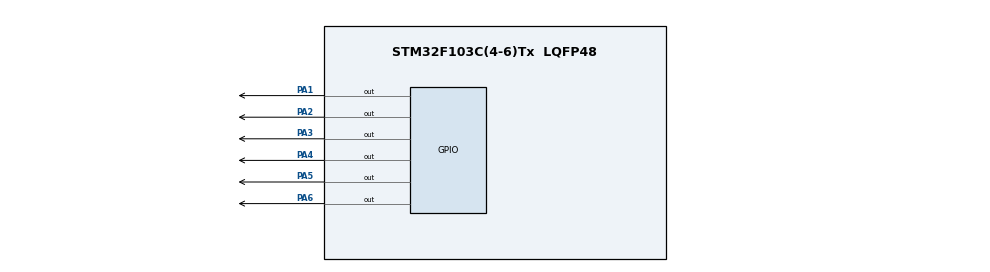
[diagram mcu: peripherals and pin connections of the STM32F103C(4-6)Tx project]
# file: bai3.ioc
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Mcu.Family=STM32F1
Mcu.Name=STM32F103C(4-6)Tx
Mcu.Package=LQFP48
NVIC.PriorityGroup=NVIC_PRIORITYGROUP_4
PA1.Signal=GPIO_Output
PA2.Signal=GPIO_Output
PA3.Signal=GPIO_Output
PA4.Signal=GPIO_Output
PA5.Signal=GPIO_Output
PA6.Signal=GPIO_Output
ProjectManager.HeapSize=0x200
ProjectManager.StackSize=0x400
ProjectManager.TargetToolchain=STM32CubeIDE
RCC.APB1Freq_Value=8000000
RCC.APB2Freq_Value=8000000
board=custom

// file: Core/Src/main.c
/* USER CODE BEGIN Header */
/**
  ******************************************************************************
  * @file           : main.c
  * @brief          : Main program body
  ******************************************************************************
  * @attention
  *
  * Copyright (c) 2022 STMicroelectronics.
  * All rights reserved.
  *
  * This software is licensed under terms that can be found in the LICENSE file
  * in the root directory of this software component.
  * If no LICENSE file comes with this software, it is provided AS-IS.
  *
  ******************************************************************************
  */
/* USER CODE END Header */
#include "main.h"

void SystemClock_Config(void);
static void MX_GPIO_Init(void);

int main(void)
{

  /* MCU Configuration--------------------------------------------------------*/

  /* Reset of all peripherals, Initializes the Flash interface and the Systick. */
  HAL_Init();

  /* Configure the system clock */
  SystemClock_Config();

  /* Initialize all configured peripherals */
  MX_GPIO_Init();

  /* Infinite loop */
  /* USER CODE BEGIN WHILE */
  int counter = 10;
  int reset_counter = 10;
  int flag1, flag2; // red = 0 yellow = 1 green = 2
  while (1)
  {
	  if (counter <= 0) {
		  counter = reset_counter;
	  }
	  if (counter > 5) {
		  flag1 = 0;
	  } else if (counter > 3) {
		  flag1 = 1;
	  } else {
		  flag1 = 2;
	  }
	  if (counter > 7) {
		  flag2 = 2;
	  } else if (counter > 5) {
		  flag2 = 1;
	  } else {
		  flag2 = 0;
	  }
	  if (flag1 == 0) {
		  HAL_GPIO_WritePin(GPIOA, GPIO_PIN_1, SET);
		  HAL_GPIO_WritePin(GPIOA, GPIO_PIN_2, RESET);
		  HAL_GPIO_WritePin(GPIOA, GPIO_PIN_3, RESET);
	  } else if (flag1 == 1) {
		  HAL_GPIO_WritePin(GPIOA, GPIO_PIN_1, RESET);
		  HAL_GPIO_WritePin(GPIOA, GPIO_PIN_2, SET);
		  HAL_GPIO_WritePin(GPIOA, GPIO_PIN_3, RESET);
	  } else if (flag1 == 2) {
		  HAL_GPIO_WritePin(GPIOA, GPIO_PIN_1, RESET);
		  HAL_GPIO_WritePin(GPIOA, GPIO_PIN_2, RESET);
		  HAL_GPIO_WritePin(GPIOA, GPIO_PIN_3, SET);
	  }
	  if (flag2 == 0) {
		  HAL_GPIO_WritePin(GPIOA, GPIO_PIN_4, SET);
		  HAL_GPIO_WritePin(GPIOA, GPIO_PIN_5, RESET);
		  HAL_GPIO_WritePin(GPIOA, GPIO_PIN_6, RESET);
	  } else if (flag2 == 1) {
		  HAL_GPIO_WritePin(GPIOA, GPIO_PIN_4, RESET);
		  HAL_GPIO_WritePin(GPIOA, GPIO_PIN_5, SET);
		  HAL_GPIO_WritePin(GPIOA, GPIO_PIN_6, RESET);
	  } else if (flag2 == 2) {
		  HAL_GPIO_WritePin(GPIOA, GPIO_PIN_4, RESET);
		  HAL_GPIO_WritePin(GPIOA, GPIO_PIN_5, RESET);
		  HAL_GPIO_WritePin(GPIOA, GPIO_PIN_6, SET);
	  }
	  counter--;
	  HAL_Delay(1000);
    /* USER CODE END WHILE */

  }
}

void SystemClock_Config(void)
{
  RCC_OscInitTypeDef RCC_OscInitStruct = {0};
  RCC_ClkInitTypeDef RCC_ClkInitStruct = {0};

  /** Initializes the RCC Oscillators according to the specified parameters
  * in the RCC_OscInitTypeDef structure.
  */
  RCC_OscInitStruct.OscillatorType = RCC_OSCILLATORTYPE_HSI;
  RCC_OscInitStruct.HSIState = RCC_HSI_ON;
  RCC_OscInitStruct.HSICalibrationValue = RCC_HSICALIBRATION_DEFAULT;
  RCC_OscInitStruct.PLL.PLLState = RCC_PLL_NONE;
  if (HAL_RCC_OscConfig(&RCC_OscInitStruct) != HAL_OK)
  {
    Error_Handler();
  }

  /** Initializes the CPU, AHB and APB buses clocks
  */
  RCC_ClkInitStruct.ClockType = RCC_CLOCKTYPE_HCLK|RCC_CLOCKTYPE_SYSCLK
                              |RCC_CLOCKTYPE_PCLK1|RCC_CLOCKTYPE_PCLK2;
  RCC_ClkInitStruct.SYSCLKSource = RCC_SYSCLKSOURCE_HSI;
  RCC_ClkInitStruct.AHBCLKDivider = RCC_SYSCLK_DIV1;
  RCC_ClkInitStruct.APB1CLKDivider = RCC_HCLK_DIV1;
  RCC_ClkInitStruct.APB2CLKDivider = RCC_HCLK_DIV1;

  if (HAL_RCC_ClockConfig(&RCC_ClkInitStruct, FLASH_LATENCY_0) != HAL_OK)
  {
    Error_Handler();
  }
}

static void MX_GPIO_Init(void)
{
  GPIO_InitTypeDef GPIO_InitStruct = {0};

  /* GPIO Ports Clock Enable */
  __HAL_RCC_GPIOA_CLK_ENABLE();

  /*Configure GPIO pin Output Level */
  HAL_GPIO_WritePin(GPIOA, GPIO_PIN_1|GPIO_PIN_2|GPIO_PIN_3|GPIO_PIN_4
                          |GPIO_PIN_5|GPIO_PIN_6, GPIO_PIN_RESET);

  /*Configure GPIO pins : PA1 PA2 PA3 PA4
                           PA5 PA6 */
  GPIO_InitStruct.Pin = GPIO_PIN_1|GPIO_PIN_2|GPIO_PIN_3|GPIO_PIN_4
                          |GPIO_PIN_5|GPIO_PIN_6;
  GPIO_InitStruct.Mode = GPIO_MODE_OUTPUT_PP;
  GPIO_InitStruct.Pull = GPIO_NOPULL;
  GPIO_InitStruct.Speed = GPIO_SPEED_FREQ_LOW;
  HAL_GPIO_Init(GPIOA, &GPIO_InitStruct);

}

void Error_Handler(void)
{
  __disable_irq();
  while (1)
  {
  }
}
